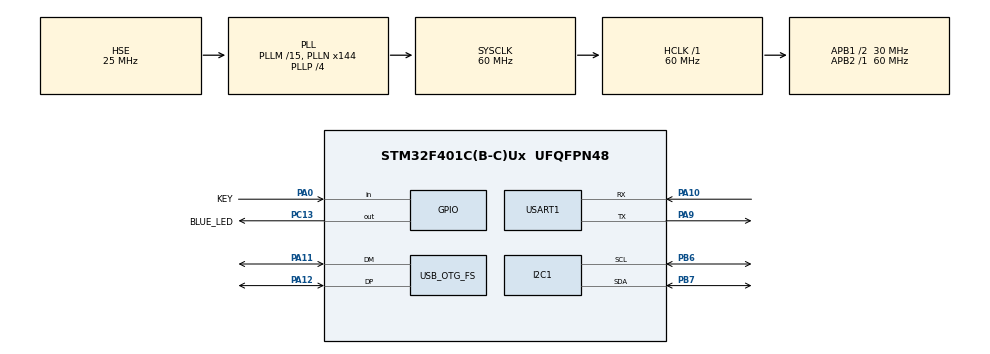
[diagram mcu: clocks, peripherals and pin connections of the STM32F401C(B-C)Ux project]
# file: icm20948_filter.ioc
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I2C1.I2C_Mode=I2C_Fast
Mcu.Family=STM32F4
Mcu.Name=STM32F401C(B-C)Ux
Mcu.Package=UFQFPN48
NVIC.OTG_FS_IRQn=true\:0\:0\:false\:false\:true\:false\:true\:true
NVIC.PriorityGroup=NVIC_PRIORITYGROUP_4
NVIC.TIM2_IRQn=true\:0\:0\:false\:false\:true\:true\:true\:true
PA0-WKUP.GPIO_Label=KEY
PA0-WKUP.Signal=GPIO_Input
PA10.Mode=Asynchronous
PA10.Signal=USART1_RX
PA11.Mode=Device_Only
PA11.Signal=USB_OTG_FS_DM
PA12.Mode=Device_Only
PA12.Signal=USB_OTG_FS_DP
PA13.Mode=Serial_Wire
PA13.Signal=SYS_JTMS-SWDIO
PA14.Mode=Serial_Wire
PA14.Signal=SYS_JTCK-SWCLK
PA9.Mode=Asynchronous
PA9.Signal=USART1_TX
PB6.Mode=I2C
PB6.Signal=I2C1_SCL
PB7.Mode=I2C
PB7.Signal=I2C1_SDA
PC13-ANTI_TAMP.GPIO_Label=BLUE_LED
PC13-ANTI_TAMP.GPIO_PuPd=GPIO_PULLDOWN
PC13-ANTI_TAMP.Signal=GPIO_Output
PC14-OSC32_IN.Mode=LSE-External-Oscillator
PC14-OSC32_IN.Signal=RCC_OSC32_IN
PC15-OSC32_OUT.Mode=LSE-External-Oscillator
PC15-OSC32_OUT.Signal=RCC_OSC32_OUT
PH0\ -\ OSC_IN.Mode=HSE-External-Oscillator
PH0\ -\ OSC_IN.Signal=RCC_OSC_IN
PH1\ -\ OSC_OUT.Mode=HSE-External-Oscillator
PH1\ -\ OSC_OUT.Signal=RCC_OSC_OUT
ProjectManager.HeapSize=0x200
ProjectManager.StackSize=0x400
ProjectManager.TargetToolchain=Makefile
RCC.48MHZClocksFreq_Value=48000000
RCC.AHBFreq_Value=60000000
RCC.APB1CLKDivider=RCC_HCLK_DIV2
RCC.APB1Freq_Value=30000000
RCC.APB1TimFreq_Value=60000000
RCC.APB2Freq_Value=60000000
RCC.APB2TimFreq_Value=60000000
RCC.CortexFreq_Value=60000000
RCC.HCLKFreq_Value=60000000
RCC.HSE_VALUE=25000000
RCC.HSI_VALUE=16000000
RCC.PLLM=15
RCC.PLLN=144
RCC.PLLP=RCC_PLLP_DIV4
RCC.PLLQ=5
RCC.SYSCLKFreq_VALUE=60000000
RCC.SYSCLKSource=RCC_SYSCLKSOURCE_PLLCLK
RCC.VCOOutputFreq_Value=240000000
TIM2.Period=199
TIM2.Prescaler=5999
USART1.VirtualMode=VM_ASYNC
USB_DEVICE.CLASS_NAME_FS=CDC
USB_DEVICE.VirtualMode=Cdc
USB_DEVICE.VirtualModeFS=Cdc_FS
USB_OTG_FS.VirtualMode=Device_Only
VP_TIM2_VS_ClockSourceINT.Mode=Internal
VP_USB_DEVICE_VS_USB_DEVICE_CDC_FS.Mode=CDC_FS
board=custom

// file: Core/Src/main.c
/* USER CODE BEGIN Header */
/**
  ******************************************************************************
  * @file           : main.c
  * @brief          : Main program body
  ******************************************************************************
  * @attention
  *
  * Copyright (c) 2023 STMicroelectronics.
  * All rights reserved.
  *
  * This software is licensed under terms that can be found in the LICENSE file
  * in the root directory of this software component.
  * If no LICENSE file comes with this software, it is provided AS-IS.
  *
  ******************************************************************************
  */
/* USER CODE END Header */
#include "main.h"
#include "i2c.h"
#include "tim.h"
#include "usart.h"
#include "usb_device.h"
#include "gpio.h"

/* USER CODE BEGIN Includes */
#include "usbd_cdc_if.h"
#include "icm20948.h"
#include "math.h"
#include "ahrs.h"
/* USER CODE END Includes */

/* USER CODE BEGIN PD */
#define RAD2DEG  57.295779F
#define DEG2RAD  0.0174533F

// #define WATCH_INITIAL_ANGLE
/* USER CODE END PD */

/* USER CODE BEGIN PV */
uint8_t count = 0;
uint8_t tim_trig = 0;
/* USER CODE END PV */

void SystemClock_Config(void);
/* USER CODE BEGIN PFP */
/* X[0] = angle, X[1] = velocity bias for last state */
void kalman(float X[2], float angle, float velocity, float P[2][2], float dt)
{
  float y, S, K[2], P00_tmp, P01_tmp;
  X[1] = velocity - X[0] * dt;
  X[0] += X[1] * dt;

  P[0][0] += dt * (dt * P[1][1] - P[0][1] - P[1][0] + 0.001);
  P[0][1] -= dt * P[1][1];
  P[1][0] -= dt * P[1][1];
  P[1][1] += 0.003 * dt;

  y = angle - X[0];
  S = P[0][0] + 0.03;
  K[0] = P[0][0] / S;
  K[1] = P[1][0] / S;

  X[0] += K[0] * y;
  X[1] += K[1] * y;

  P00_tmp = P[0][0];
  P01_tmp = P[0][1];

  P[0][0] -= K[0] * P00_tmp;
  P[0][1] -= K[0] * P01_tmp;
  P[1][0] -= K[1] * P00_tmp;
  P[1][1] -= K[1] * P01_tmp;
}
/* USER CODE END PFP */

/* USER CODE BEGIN 0 */
void enu2ned(float *x, float *y, float *z)
{
  float tmp = *x;

  *x = *y;
  *y = tmp;
  *z = -(*z);
}
/* USER CODE END 0 */

int main(void)
{

  /* MCU Configuration--------------------------------------------------------*/

  /* Reset of all peripherals, Initializes the Flash interface and the Systick. */
  HAL_Init();

  /* Configure the system clock */
  SystemClock_Config();

  /* Initialize all configured peripherals */
  MX_GPIO_Init();
  MX_I2C1_Init();
  MX_USB_DEVICE_Init();
  MX_USART1_UART_Init();
  MX_TIM2_Init();
  /* USER CODE BEGIN 2 */
  uint8_t msg[200], len = 0;
  float ax, ay, az, gx, gy, gz, mx, my, mz;
  float roll, pitch, yaw;
  int imu_status = 0;
  int mag_status = 0;
  if (icm20948_init(225, GYRO_250_DPS, ACCEL_4G, LP_BW_119HZ)) {
    while (1) {
      HAL_GPIO_TogglePin(BLUE_LED_GPIO_Port, BLUE_LED_Pin);
      HAL_Delay(1000);
    }
  }
  icm20948_read_axis6(&ax, &ay, &az, &gx, &gy, &gz);
  icm20948_read_mag(&mx, &my, &mz);
  // enu2ned(&ax, &ay, &az);
  // enu2ned(&mx, &my, &mz);
  ahrs_init(ax, ay, az, mx, my, mz);
  // ahrs_init_imu(ax, ay, az);
#ifdef WATCH_INITIAL_ANGLE
  ahrs2euler(&roll, &pitch, &yaw);
  roll *= RAD2DEG;
  pitch *= RAD2DEG;
  yaw *= RAD2DEG;
  len = snprintf((char *)msg, 200, "r: %.2f, p: %.2f, y: %.2f\n\r",
                                      roll, pitch, yaw);
  while (1) {
    CDC_Transmit_FS(msg, len);
    HAL_Delay(1000);
  }
#endif
  HAL_TIM_Base_Start_IT(&htim2);
  /* USER CODE END 2 */

  /* Infinite loop */
  /* USER CODE BEGIN WHILE */
  while (1)
  { /* 50 Hz */
    while (!tim_trig)
      ;
    imu_status = icm20948_read_axis6(&ax, &ay, &az, &gx, &gy, &gz);
    gx *= DEG2RAD;
    gy *= DEG2RAD;
    gz *= DEG2RAD;
    mag_status = icm20948_read_mag(&mx, &my, &mz);

    if (imu_status == 0 && mag_status == 0) {
      // enu2ned(&gx, &gy, &gz);
      // enu2ned(&ax, &ay, &az);
      // enu2ned(&mx, &my, &mz);
      ahrs_update_imu(gx, gy, gz, ax, ay, az, 0.02);
      // ahrs_update(gx, gy, gz, ax, ay, az, mx, my, mz, 0.02);
      ahrs2euler(&roll, &pitch, &yaw);
      roll *= RAD2DEG;
      pitch *= RAD2DEG;
      yaw *= RAD2DEG;
    } else if (imu_status == 0) {
      ahrs_update_imu(gx, gy, gz, ax, ay, az, 0.02);
    }

    if (count%5 == 0) {
      // len = snprintf((char *)msg, 200, "%.3f,%.3f,%.3f,%.2f,%.2f,%.2f,"
      //                                  "%.2f,%.2f,%.2f\n",
      //                                  ax, ay, az, gx, gy, gz,
      //                                  roll, pitch, yaw);
      len = snprintf((char *)msg, 200, "r: %.2f, p: %.2f, y: %.2f\n\r"
                                       "ax: %.2f, ay: %.2f, az: %.2f\n\r"
                                       "gx: %.2f, gy: %.2f, gz: %.2f\n\r"
                                       "mx: %.2f, my: %.2f, mz: %.2f\n\r",
                                       roll, pitch, yaw,
                                       ax, ay, az, gx, gy, gz, mx, my, mz);
      CDC_Transmit_FS(msg, len);
    }
    tim_trig = 0;
    /* USER CODE END WHILE */

  }
}

void SystemClock_Config(void)
{
  RCC_OscInitTypeDef RCC_OscInitStruct = {0};
  RCC_ClkInitTypeDef RCC_ClkInitStruct = {0};

  /** Configure the main internal regulator output voltage
  */
  __HAL_RCC_PWR_CLK_ENABLE();
  __HAL_PWR_VOLTAGESCALING_CONFIG(PWR_REGULATOR_VOLTAGE_SCALE2);

  /** Initializes the RCC Oscillators according to the specified parameters
  * in the RCC_OscInitTypeDef structure.
  */
  RCC_OscInitStruct.OscillatorType = RCC_OSCILLATORTYPE_HSE;
  RCC_OscInitStruct.HSEState = RCC_HSE_ON;
  RCC_OscInitStruct.PLL.PLLState = RCC_PLL_ON;
  RCC_OscInitStruct.PLL.PLLSource = RCC_PLLSOURCE_HSE;
  RCC_OscInitStruct.PLL.PLLM = 15;
  RCC_OscInitStruct.PLL.PLLN = 144;
  RCC_OscInitStruct.PLL.PLLP = RCC_PLLP_DIV4;
  RCC_OscInitStruct.PLL.PLLQ = 5;
  if (HAL_RCC_OscConfig(&RCC_OscInitStruct) != HAL_OK)
  {
    Error_Handler();
  }

  /** Initializes the CPU, AHB and APB buses clocks
  */
  RCC_ClkInitStruct.ClockType = RCC_CLOCKTYPE_HCLK|RCC_CLOCKTYPE_SYSCLK
                              |RCC_CLOCKTYPE_PCLK1|RCC_CLOCKTYPE_PCLK2;
  RCC_ClkInitStruct.SYSCLKSource = RCC_SYSCLKSOURCE_PLLCLK;
  RCC_ClkInitStruct.AHBCLKDivider = RCC_SYSCLK_DIV1;
  RCC_ClkInitStruct.APB1CLKDivider = RCC_HCLK_DIV2;
  RCC_ClkInitStruct.APB2CLKDivider = RCC_HCLK_DIV1;

  if (HAL_RCC_ClockConfig(&RCC_ClkInitStruct, FLASH_LATENCY_1) != HAL_OK)
  {
    Error_Handler();
  }
}

/* USER CODE BEGIN 4 */
void HAL_TIM_PeriodElapsedCallback(TIM_HandleTypeDef *htim)
{
  if(htim->Instance == htim2.Instance) {
    tim_trig = 1;
    if (count == 50) {
      count = 0;
    }
    else
      count++;
  }
}
/* USER CODE END 4 */

void Error_Handler(void)
{
  __disable_irq();
  while (1)
  {
  }
}
